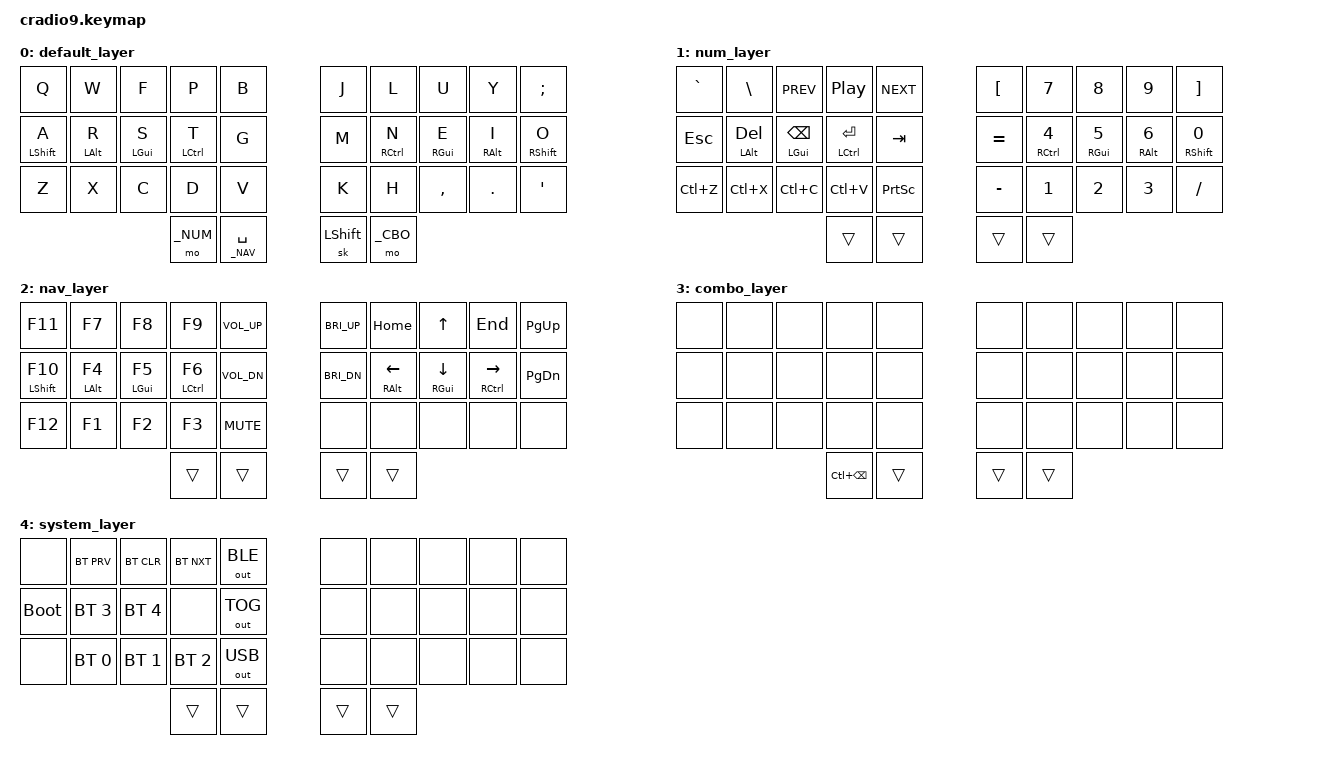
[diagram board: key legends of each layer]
/*
 * Copyright (c) 2020 The ZMK Contributors
 *
 * SPDX-License-Identifier: MIT
 */

#include <behaviors.dtsi>
#include <dt-bindings/zmk/bt.h>
#include <dt-bindings/zmk/keys.h>
#include <dt-bindings/zmk/outputs.h>

// LAYERS
#define _NUM 1 
#define _NAV 2 
#define _CBO 3 
#define _SYS 4 

&mt {
  flavor = "tap-preferred";
  tapping_term_ms = <200>;
};

&lt {
  flavor = "tap-preferred";
  tapping_term_ms = <200>;
};

&sl {
    release-after-ms = <1000>;
};

&sk {
    release-after-ms = <2000>;
    quick-release;
};

/ {
  macros {
    #include "macros.dtsi"
  };
  combos {
    compatible = "zmk,combos";
    combo_system {
      timeout-ms = <100>;
      key-positions = <0 20>;
      bindings = <&tog _SYS>;
      layers = <0>;
    };
    combo_boot {
      timeout-ms = <100>;
      key-positions = <0 4>;
      bindings = <&bootloader>;
      layers = <0>;
    };
    combo_system {
      timeout-ms = <100>;
      key-positions = <0 20>;
      bindings = <&tog _SYS>;
    };
    #include "combos.dtsi"
  };

  keymap {
    compatible = "zmk,keymap";

    default_layer {
      bindings = <
        &kp Q            &kp W            &kp F            &kp P            &kp B                 &kp J            &kp L            &kp U            &kp Y            &kp SEMI
        &mt LSHIFT A     &mt LALT R       &mt LGUI S       &mt LCTRL T      &kp G                 &kp M            &mt RCTRL N      &mt RGUI E       &mt RALT I       &mt RSHIFT O
        &kp Z            &kp X            &kp C            &kp D            &kp V                 &kp K            &kp H            &kp COMMA        &kp DOT          &kp SQT
                                                           &mo _NUM         &lt _NAV SPC          &sk LSHIFT       &mo _CBO
      >;
    };

    num_layer {
      bindings = <
        &kp GRAVE        &kp BSLH         &kp C_PREV       &kp C_PP         &kp C_NEXT            &kp LBKT         &kp N7           &kp N8           &kp N9           &kp RBKT 
        &kp ESC          &mt LALT DEL     &mt LGUI BSPC    &mt LCTRL RET    &kp TAB               &kp EQUAL        &mt RCTRL N4     &mt RGUI N5      &mt RALT N6      &mt RSHIFT N0
        &kp LC(Z)        &kp LC(X)        &kp LC(C)        &kp LC(V)        &kp PSCRN             &kp MINUS        &kp N1           &kp N2           &kp N3           &kp FSLH 
                                                           &trans           &trans                &trans           &trans
      >;
    };

    nav_layer {
      bindings = <
        &kp F11          &kp F7           &kp F8           &kp F9           &kp C_VOL_UP          &kp C_BRI_UP     &kp HOME         &kp UP           &kp END          &kp PG_UP
        &mt LSHIFT F10   &mt LALT F4      &mt LGUI F5      &mt LCTRL F6     &kp C_VOL_DN          &kp C_BRI_DN     &mt RALT LEFT    &mt RGUI DOWN    &mt RCTRL RIGHT  &kp PG_DN
        &kp F12          &kp F1           &kp F2           &kp F3           &kp C_MUTE            &none            &none            &none            &none            &none
                                                           &trans           &trans                &trans           &trans
      >;
    };

    combo_layer {
      bindings = <
        &none            &none            &none            &none            &none                 &none            &none            &none            &none            &none
        &none            &none            &none            &none            &none                 &none            &none            &none            &none            &none
        &none            &none            &none            &none            &none                 &none            &none            &none            &none            &none
                                                           &kp LC(BSPC)     &trans                &trans           &trans
      >;
    };
    system_layer {
      bindings = <
        &none            &bt BT_PRV       &bt BT_CLR       &bt BT_NXT       &out OUT_BLE          &none            &none            &none            &none            &none
        &bootloader      &bt BT_SEL 3     &bt BT_SEL 4     &none            &out OUT_TOG          &none            &none            &none            &none            &none
        &none            &bt BT_SEL 0     &bt BT_SEL 1     &bt BT_SEL 2     &out OUT_USB          &none            &none            &none            &none            &none
                                                           &trans           &trans                &trans           &trans
      >;
    };
  };
};
